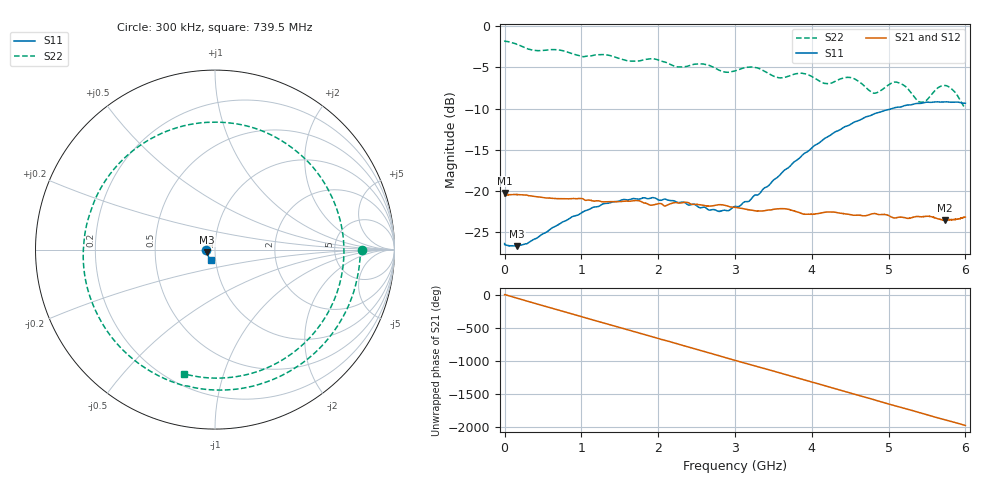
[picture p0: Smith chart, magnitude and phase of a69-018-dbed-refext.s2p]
!  3/18/2021  20:17:23
! Ref Plane: 13.288 mm
# MHZ S MA R  50
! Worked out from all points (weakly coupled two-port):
!   10001 points, 300 kHz to 6 GHz, reference 50 ohm
!   highest |S21| = -20.23 dB at 300 kHz (marker M1); lowest = -23.5 dB at 5.732 GHz (marker M2)
!   lowest |S11| = -26.7 dB at 162.9 MHz (marker M3), VSWR 1.10, Z = 45.8 - j1.34 ohm
!   |S11| at or under -10 dB: start of sweep to 5.046 GHz
!   |S22| runs from -10.0 to -1.7 dB; largest |S21 - S12| = 0.002
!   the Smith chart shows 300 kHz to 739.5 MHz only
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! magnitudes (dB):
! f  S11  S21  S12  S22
! 300 kHz  -26.4  -20.2  -20.4  -1.7
! 162.9 MHz  -26.7  -20.4  -20.4  -2.2
! 1 GHz  -22.7  -20.9  -20.9  -3.7
! 1.54 GHz  -21.0  -21.3  -21.3  -4.1
! 2.001 GHz  -21.1  -21.5  -21.5  -4.1
! 2.241 GHz  -21.3  -21.4  -21.4  -4.9
! 2.575 GHz  -22.0  -21.7  -21.7  -4.6
! 2.791 GHz  -22.5  -21.7  -21.7  -5.3
! 3 GHz  -21.9  -22.0  -22.0  -5.4
! 3.312 GHz  -20.4  -22.4  -22.4  -5.1
! 3.57 GHz  -18.2  -22.2  -22.2  -6.3
! 3.85 GHz  -15.9  -22.7  -22.7  -5.7
! 4 GHz  -14.8  -22.8  -22.8  -6.1
! 4.197 GHz  -13.5  -22.5  -22.5  -7.0
! 4.521 GHz  -11.8  -22.9  -22.9  -6.3
! 4.811 GHz  -10.6  -22.7  -22.7  -8.1
! 5 GHz  -10.1  -23.0  -23.0  -7.1
! 5.171 GHz  -9.8  -23.2  -23.2  -7.0
! 5.428 GHz  -9.4  -23.1  -23.1  -9.2
! 5.732 GHz  -9.2  -23.5  -23.5  -7.2
! 5.854 GHz  -9.2  -23.5  -23.5  -7.9
! 6 GHz  -9.3  -23.2  -23.1  -10.0
